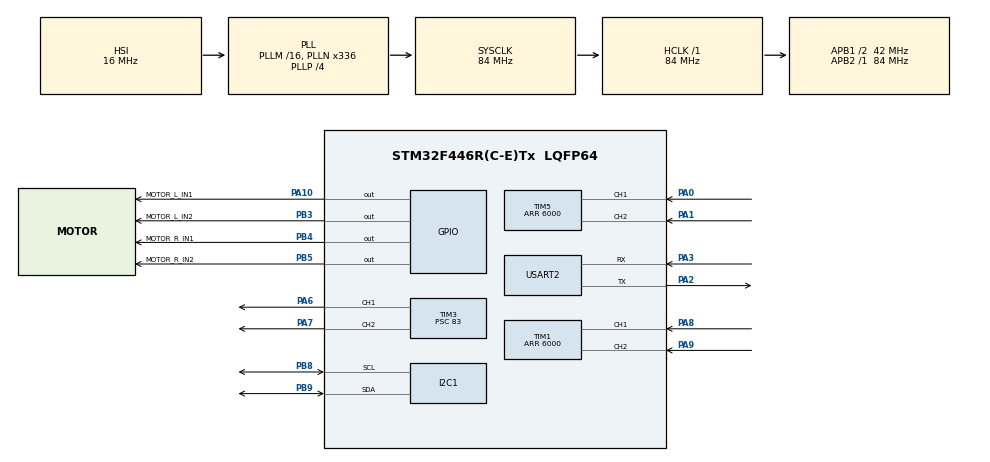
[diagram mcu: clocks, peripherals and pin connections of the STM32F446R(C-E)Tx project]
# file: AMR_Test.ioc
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Dma.Request0=USART2_RX
Dma.Request1=USART2_TX
Dma.USART2_RX.0.Direction=DMA_PERIPH_TO_MEMORY
Dma.USART2_RX.0.FIFOMode=DMA_FIFOMODE_DISABLE
Dma.USART2_RX.0.Instance=DMA1_Stream5
Dma.USART2_RX.0.MemDataAlignment=DMA_MDATAALIGN_BYTE
Dma.USART2_RX.0.MemInc=DMA_MINC_ENABLE
Dma.USART2_RX.0.Mode=DMA_CIRCULAR
Dma.USART2_RX.0.PeriphDataAlignment=DMA_PDATAALIGN_BYTE
Dma.USART2_RX.0.PeriphInc=DMA_PINC_DISABLE
Dma.USART2_RX.0.Priority=DMA_PRIORITY_VERY_HIGH
Dma.USART2_TX.1.Direction=DMA_MEMORY_TO_PERIPH
Dma.USART2_TX.1.FIFOMode=DMA_FIFOMODE_DISABLE
Dma.USART2_TX.1.Instance=DMA1_Stream6
Dma.USART2_TX.1.MemDataAlignment=DMA_MDATAALIGN_BYTE
Dma.USART2_TX.1.MemInc=DMA_MINC_ENABLE
Dma.USART2_TX.1.Mode=DMA_NORMAL
Dma.USART2_TX.1.PeriphDataAlignment=DMA_PDATAALIGN_BYTE
Dma.USART2_TX.1.PeriphInc=DMA_PINC_DISABLE
Dma.USART2_TX.1.Priority=DMA_PRIORITY_VERY_HIGH
FREERTOS.Tasks01=defaultTask,24,128,StartDefaultTask,Default,NULL,Dynamic,NULL,NULL
FREERTOS.configTOTAL_HEAP_SIZE=24576
FREERTOS.configUSE_NEWLIB_REENTRANT=1
I2C1.I2C_Mode=I2C_Fast
Mcu.Family=STM32F4
Mcu.Name=STM32F446R(C-E)Tx
Mcu.Package=LQFP64
NVIC.DMA1_Stream5_IRQn=true\:5\:0\:false\:false\:true\:true\:false\:true\:true
NVIC.DMA1_Stream6_IRQn=true\:5\:0\:false\:false\:true\:true\:false\:true\:true
NVIC.PriorityGroup=NVIC_PRIORITYGROUP_4
NVIC.TIM6_DAC_IRQn=true\:15\:0\:false\:false\:true\:false\:false\:true\:true
NVIC.TimeBase=TIM6_DAC_IRQn
NVIC.TimeBaseIP=TIM6
NVIC.USART2_IRQn=true\:5\:0\:false\:false\:true\:true\:false\:true\:true
PA0-WKUP.Signal=S_TIM5_CH1
PA1.Signal=S_TIM5_CH2
PA10.GPIO_Label=MOTOR_L_IN1
PA10.Signal=GPIO_Output
PA2.Mode=Asynchronous
PA2.Signal=USART2_TX
PA3.Mode=Asynchronous
PA3.Signal=USART2_RX
PA6.Signal=S_TIM3_CH1
PA7.Signal=S_TIM3_CH2
PA8.Signal=S_TIM1_CH1
PA9.Signal=S_TIM1_CH2
PB3.GPIO_Label=MOTOR_L_IN2
PB3.Signal=GPIO_Output
PB4.GPIO_Label=MOTOR_R_IN1
PB4.Signal=GPIO_Output
PB5.GPIO_Label=MOTOR_R_IN2
PB5.Signal=GPIO_Output
PB8.Mode=I2C
PB8.Signal=I2C1_SCL
PB9.Mode=I2C
PB9.Signal=I2C1_SDA
ProjectManager.HeapSize=0x200
ProjectManager.StackSize=0x400
ProjectManager.TargetToolchain=STM32CubeIDE
RCC.AHBFreq_Value=84000000
RCC.APB1CLKDivider=RCC_HCLK_DIV2
RCC.APB1Freq_Value=42000000
RCC.APB1TimFreq_Value=84000000
RCC.APB2Freq_Value=84000000
RCC.APB2TimFreq_Value=84000000
RCC.CortexFreq_Value=84000000
RCC.FLatency-AdvancedSettings=FLASH_LATENCY_2
RCC.HCLKFreq_Value=84000000
RCC.HSE_VALUE=8000000
RCC.HSI_VALUE=16000000
RCC.LSE_VALUE=32768
RCC.PLLN=336
RCC.PLLP=RCC_PLLP_DIV4
RCC.SYSCLKFreq_VALUE=84000000
RCC.SYSCLKSource=RCC_SYSCLKSOURCE_PLLCLK
RCC.USBFreq_Value=168000000
RCC.VCOOutputFreq_Value=336000000
SH.S_TIM1_CH1.0=TIM1_CH1,Encoder_Interface
SH.S_TIM1_CH2.0=TIM1_CH2,Encoder_Interface
SH.S_TIM3_CH1.0=TIM3_CH1,PWM Generation1 CH1
SH.S_TIM3_CH2.0=TIM3_CH2,PWM Generation2 CH2
SH.S_TIM5_CH1.0=TIM5_CH1,Encoder_Interface
SH.S_TIM5_CH2.0=TIM5_CH2,Encoder_Interface
TIM1.AutoReloadPreload=TIM_AUTORELOAD_PRELOAD_ENABLE
TIM1.Period=6000
TIM3.AutoReloadPreload=TIM_AUTORELOAD_PRELOAD_ENABLE
TIM3.Channel-PWM\ Generation1\ CH1=TIM_CHANNEL_1
TIM3.Channel-PWM\ Generation2\ CH2=TIM_CHANNEL_2
TIM3.Period=999
TIM3.Prescaler=83
TIM5.AutoReloadPreload=TIM_AUTORELOAD_PRELOAD_ENABLE
TIM5.Period=6000
USART2.VirtualMode=VM_ASYNC
VP_FREERTOS_VS_CMSIS_V2.Mode=CMSIS_V2
VP_SYS_VS_tim6.Mode=TIM6
board=NUCLEO-F446RE

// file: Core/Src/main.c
/* USER CODE BEGIN Header */
/**
  ******************************************************************************
  * @file           : main.c
  * @brief          : Main program body
  ******************************************************************************
  * @attention
  *
  * Copyright (c) 2026 STMicroelectronics.
  * All rights reserved.
  *
  * This software is licensed under terms that can be found in the LICENSE file
  * in the root directory of this software component.
  * If no LICENSE file comes with this software, it is provided AS-IS.
  *
  ******************************************************************************
  */
/* USER CODE END Header */
#include "main.h"
#include "cmsis_os.h"
#include "dma.h"
#include "i2c.h"
#include "tim.h"
#include "usart.h"
#include "gpio.h"

void SystemClock_Config(void);
void MX_FREERTOS_Init(void);

int main(void)
{

  /* MCU Configuration--------------------------------------------------------*/

  /* Reset of all peripherals, Initializes the Flash interface and the Systick. */
  HAL_Init();

  /* Configure the system clock */
  SystemClock_Config();

  /* Initialize all configured peripherals */
  MX_GPIO_Init();
  MX_DMA_Init();
  MX_I2C1_Init();
  MX_TIM1_Init();
  MX_TIM3_Init();
  MX_TIM5_Init();
  MX_USART2_UART_Init();

  /* Init scheduler */
  osKernelInitialize();  /* Call init function for freertos objects (in cmsis_os2.c) */
  MX_FREERTOS_Init();

  /* Start scheduler */
  osKernelStart();

  /* We should never get here as control is now taken by the scheduler */

  /* Infinite loop */
  while (1)
  {

  }
}

void SystemClock_Config(void)
{
  RCC_OscInitTypeDef RCC_OscInitStruct = {0};
  RCC_ClkInitTypeDef RCC_ClkInitStruct = {0};

  /** Configure the main internal regulator output voltage
  */
  __HAL_RCC_PWR_CLK_ENABLE();
  __HAL_PWR_VOLTAGESCALING_CONFIG(PWR_REGULATOR_VOLTAGE_SCALE3);

  /** Initializes the RCC Oscillators according to the specified parameters
  * in the RCC_OscInitTypeDef structure.
  */
  RCC_OscInitStruct.OscillatorType = RCC_OSCILLATORTYPE_HSI;
  RCC_OscInitStruct.HSIState = RCC_HSI_ON;
  RCC_OscInitStruct.HSICalibrationValue = RCC_HSICALIBRATION_DEFAULT;
  RCC_OscInitStruct.PLL.PLLState = RCC_PLL_ON;
  RCC_OscInitStruct.PLL.PLLSource = RCC_PLLSOURCE_HSI;
  RCC_OscInitStruct.PLL.PLLM = 16;
  RCC_OscInitStruct.PLL.PLLN = 336;
  RCC_OscInitStruct.PLL.PLLP = RCC_PLLP_DIV4;
  RCC_OscInitStruct.PLL.PLLQ = 2;
  RCC_OscInitStruct.PLL.PLLR = 2;
  if (HAL_RCC_OscConfig(&RCC_OscInitStruct) != HAL_OK)
  {
    Error_Handler();
  }

  /** Initializes the CPU, AHB and APB buses clocks
  */
  RCC_ClkInitStruct.ClockType = RCC_CLOCKTYPE_HCLK|RCC_CLOCKTYPE_SYSCLK
                              |RCC_CLOCKTYPE_PCLK1|RCC_CLOCKTYPE_PCLK2;
  RCC_ClkInitStruct.SYSCLKSource = RCC_SYSCLKSOURCE_PLLCLK;
  RCC_ClkInitStruct.AHBCLKDivider = RCC_SYSCLK_DIV1;
  RCC_ClkInitStruct.APB1CLKDivider = RCC_HCLK_DIV2;
  RCC_ClkInitStruct.APB2CLKDivider = RCC_HCLK_DIV1;

  if (HAL_RCC_ClockConfig(&RCC_ClkInitStruct, FLASH_LATENCY_2) != HAL_OK)
  {
    Error_Handler();
  }
}

void HAL_TIM_PeriodElapsedCallback(TIM_HandleTypeDef *htim)
{
  if (htim->Instance == TIM6)
  {
    HAL_IncTick();
  }
}

void Error_Handler(void)
{
  __disable_irq();
  while (1)
  {
  }
}

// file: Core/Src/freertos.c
/* USER CODE BEGIN Header */
/**
  ******************************************************************************
  * File Name          : freertos.c
  * Description        : Code for freertos applications
  ******************************************************************************
  * @attention
  *
  * Copyright (c) 2026 STMicroelectronics.
  * All rights reserved.
  *
  * This software is licensed under terms that can be found in the LICENSE file
  * in the root directory of this software component.
  * If no LICENSE file comes with this software, it is provided AS-IS.
  *
  ******************************************************************************
  */
/* USER CODE END Header */

#include "FreeRTOS.h"
#include "task.h"
#include "main.h"
#include "cmsis_os.h"

/* USER CODE BEGIN Includes */
#include "tim.h"    /* htim1/htim5 = wheel encoders, htim3 = motor PWM */
#include "usart.h"  /* huart2 -- shared with ST-Link VCP and the micro-ROS transport */
#include "i2c.h"    /* hi2c1 -- MPU6050 IMU on PB8/PB9 */
#include <math.h>
#include <string.h>

#include <rcl/rcl.h>
#include <rcl/error_handling.h>
#include <rclc/rclc.h>
#include <rclc/executor.h>
#include <uxr/client/transport.h>
#include <rmw_microxrcedds_c/config.h>
#include <rmw_microros/rmw_microros.h>

#include <std_msgs/msg/float32.h>
#include <std_msgs/msg/int32.h>
#include <geometry_msgs/msg/twist.h>
#include <sensor_msgs/msg/imu.h>
#include <rosidl_runtime_c/string_functions.h>
/* USER CODE END Includes */

/* USER CODE BEGIN Variables */
/* Two tasks: defaultTask just brings up the motor/encoder peripherals and
   otherwise idles; microROSTask owns everything ROS2-related. Kept separate
   so a stall on the micro-ROS side (agent unreachable, XRCE-DDS session
   trouble) can't block peripheral bring-up, and vice versa. */
osThreadId_t microROSTaskHandle;
const osThreadAttr_t microROSTask_attributes = {
  .name = "microROSTask",
  /* rcl/rclc + XRCE-DDS serialization call deep into the stack -- this task
     is the most likely place to overflow. configCHECK_FOR_STACK_OVERFLOW is
     on in FreeRTOSConfig.h so an overflow here halts cleanly via
     vApplicationStackOverflowHook() instead of corrupting memory silently. */
  .stack_size = 4096 * 4,
  .priority = (osPriority_t) osPriorityNormal,
};
/* USER CODE END Variables */
/* Definitions for defaultTask */
osThreadId_t defaultTaskHandle;
const osThreadAttr_t defaultTask_attributes = {
  .name = "defaultTask",
  .stack_size = 128 * 4,
  .priority = (osPriority_t) osPriorityNormal,
};

/* USER CODE BEGIN FunctionPrototypes */
void StartMicroROSTask(void *argument);

/* Implemented in Core/Src/dma_transport.c (copied from
   micro_ros_stm32cubemx_utils/extra_sources/microros_transports/) -- wires
   the micro-ROS transport layer to HAL's UART+DMA driver. */
bool cubemx_transport_open(struct uxrCustomTransport * transport);
bool cubemx_transport_close(struct uxrCustomTransport * transport);
size_t cubemx_transport_write(struct uxrCustomTransport* transport, const uint8_t * buf, size_t len, uint8_t * err);
size_t cubemx_transport_read(struct uxrCustomTransport* transport, uint8_t* buf, size_t len, int timeout, uint8_t* err);

/* Implemented in Core/Src/microros_allocators.c -- routes rcl/rclc's dynamic
   allocations to the dedicated heap in custom_memory_manager.c, kept
   separate from FreeRTOS's own heap since RAM is tight on this chip. */
void * microros_allocate(size_t size, void * state);
void microros_deallocate(void * pointer, void * state);
void * microros_reallocate(void * pointer, size_t size, void * state);
void * microros_zero_allocate(size_t number_of_elements, size_t size_of_element, void * state);
/* USER CODE END FunctionPrototypes */

void StartDefaultTask(void *argument);

void MX_FREERTOS_Init(void); /* (MISRA C 2004 rule 8.1) */

void MX_FREERTOS_Init(void) {

  /* Create the thread(s) */
  /* creation of defaultTask */
  defaultTaskHandle = osThreadNew(StartDefaultTask, NULL, &defaultTask_attributes);

  /* USER CODE BEGIN RTOS_THREADS */
  /* add threads, ... */
  microROSTaskHandle = osThreadNew(StartMicroROSTask, NULL, &microROSTask_attributes);
  /* USER CODE END RTOS_THREADS */

}

void StartDefaultTask(void *argument)
{
  /* USER CODE BEGIN StartDefaultTask */
  /* L298N wiring (see the wheel_init() call site in StartMicroROSTask()
     for the full writeup, including the 2026-08-26 rewire/revert history):
       TIM3_CH1 (PA6) = ENA -- right motor speed (PWM, 0..999 = 0..100% duty)
       TIM3_CH2 (PA7) = ENB -- left motor speed (PWM)
       MOTOR_L_IN1/IN2, MOTOR_R_IN1/IN2 (plain GPIO) -- direction.
     ENA/ENB set "how fast", IN1/IN2 set "which way". HAL_TIM_PWM_Start()
     only enables the PWM output pin -- duty stays at whatever the compare
     register holds until something sets it. */
  HAL_TIM_PWM_Start(&htim3, TIM_CHANNEL_1);
  HAL_TIM_PWM_Start(&htim3, TIM_CHANNEL_2);

  /* TIM1/TIM5 are configured (in CubeMX) as hardware Encoder Mode: the timer
     counts quadrature pulses from each wheel encoder directly in hardware,
     no interrupt needed. TIM_CHANNEL_ALL enables both encoder input pins
     (CH1/CH2) on each timer. */
  HAL_TIM_Encoder_Start(&htim1, TIM_CHANNEL_ALL);
  HAL_TIM_Encoder_Start(&htim5, TIM_CHANNEL_ALL);

  /* Boot stopped. Real duty only gets set once cmd_vel_callback() receives a
     command over micro-ROS. Never hardcode a nonzero duty here -- this is
     the one thing that must always hold, since the robot will start moving
     the instant it does. */
  __HAL_TIM_SET_COMPARE(&htim3, TIM_CHANNEL_1, 0);
  __HAL_TIM_SET_COMPARE(&htim3, TIM_CHANNEL_2, 0);
  HAL_GPIO_WritePin(MOTOR_L_IN1_GPIO_Port, MOTOR_L_IN1_Pin, GPIO_PIN_RESET);
  HAL_GPIO_WritePin(MOTOR_L_IN2_GPIO_Port, MOTOR_L_IN2_Pin, GPIO_PIN_RESET);
  HAL_GPIO_WritePin(MOTOR_R_IN1_GPIO_Port, MOTOR_R_IN1_Pin, GPIO_PIN_RESET);
  HAL_GPIO_WritePin(MOTOR_R_IN2_GPIO_Port, MOTOR_R_IN2_Pin, GPIO_PIN_RESET);

  /* Nothing else to do here -- all real work happens in StartMicroROSTask()
     and in interrupt/DMA context (encoders, PWM, UART). */
  /* Infinite loop */
  for(;;)
  {
    osDelay(1);
  }
  /* USER CODE END StartDefaultTask */
}

/* USER CODE BEGIN Application */

/* configCHECK_FOR_STACK_OVERFLOW is on in FreeRTOSConfig.h, which requires
   this hook to exist -- FreeRTOS calls it the moment a task's stack pointer
   runs past its allocated stack. USART2 is shared with micro-ROS traffic so
   there's no spare UART for a debug console here; halting cleanly is the
   best this hook can do. If it fires, attach a debugger, hit Suspend, and
   check which task/PC it stopped at. */
void vApplicationStackOverflowHook(TaskHandle_t xTask, char *pcTaskName)
{
  (void)xTask;
  (void)pcTaskName;
  __disable_irq();
  for (;;) {}
}

/* ==== Robot geometry ======================================================
   Converts cmd_vel's robot-frame command (linear.x m/s, angular.z rad/s)
   into per-wheel targets, and encoder ticks into wheel speed. Measured on
   the chassis -- update both here and in the ROS2-side wheel_odometry_node
   parameters together if the wheels or track change. */
#define WHEEL_TRACK_M           0.24f  /* distance between the two wheel contact patches */
#define WHEEL_RADIUS_M          0.0325f  /* measured wheel radius */
#define WHEEL_CIRCUMFERENCE_M   (2.0f * (float)M_PI * WHEEL_RADIUS_M)

/* GA25-370 gearmotor + quadrature encoder: measured ticks per one wheel
   revolution (turn the wheel exactly 10 turns by hand, divide the raw tick
   delta by 10 -- see encoder/*_raw_ticks topics below). Re-measure if the
   motor/gearbox/encoder disc is ever swapped. */
#define ENCODER_TICKS_PER_REV   1260.0f
#define ENCODER_ARR             6000     /* TIM1/TIM5 auto-reload value (tim.c) -- counter wraps 0..6000..0 */

#define CONTROL_PERIOD_S        0.05f    /* control loop period (s) -- must match the osDelay(50) below */

/* ==== cmd_vel(m/s) -> PWM duty feedforward =================================
   L298N duty range: TIM3 Period=999 (tim.c) is 100%.

   MIN_DUTY=375 is measured, not guessed: with the robot resting on the
   floor (real load, not free-spinning), duty below ~375 doesn't reliably
   turn the wheel at all. That's the real breakaway point for this
   gearbox/load, not a tunable choice -- any cmd_vel magnitude in
   (0, CMD_V_MIN] gets this duty specifically so slow commands still move
   the robot instead of stalling silently.

   MAX_DUTY=900 is the top of the safe range (leaves PID headroom below
   TIM3's 999=100%).

   Confirm the battery line has a fuse -- the L298N itself has no
   overcurrent protection. */
#define MAX_DUTY        950
#define MIN_DUTY     	400
#define CMD_V_MIN       0.005f

#define CMD_V_MAX       0.13f

/* ==== Measured duty -> rps calibration (what the PID should actually chase)
   2026-08-18: after fixing compute_wheel_rps() to use real elapsed time
   instead of an assumed fixed period (see dt_s), re-measuring at both ends
   of the duty range gave results nowhere near target_v/WHEEL_CIRCUMFERENCE_M's
   physics prediction (0.049..2.45 rev/s for CMD_V_MIN..CMD_V_MAX). The
   earlier "MIN_DUTY gives ~1.38" / "MAX_DUTY gives ~2.31" numbers were
   themselves measured before that dt_s fix and were inflated by the same
   periodic-spike artifact it fixed -- not a real regression, just a bad
   ruler. The physics formula assumes this hardware can reach whatever
   speed a commanded m/s implies; in reality the whole MIN_DUTY..MAX_DUTY
   range only ever produces a narrow band of rev/s, so a physics-based
   target is essentially unreachable everywhere and the PID would spend
   all its effort chasing it instead of converging. v_to_target_rps() below
   maps the same v used for v_to_duty() onto *this* measured curve instead,
   so the PID's setpoint actually matches what the duty it's given can
   achieve. 2026-08-19: re-measured again (0.9..1.52) -- re-measure both
   ends (v=CMD_V_MIN and v=CMD_V_MAX, sustained a few seconds each) if the
   wheels, gearbox, or battery situation changes meaningfully. */
#define MIN_DUTY_RPS    0.3f
#define MAX_DUTY_RPS    1.52f

/* ==== Wheel speed PID (encoder feedback) ===================================
   v_to_duty() feedforward gets the wheel moving immediately and past static
   friction; the PID term on top trims for per-motor/gearbox differences so
   both wheels track the same commanded speed. Set ENABLE_WHEEL_PID to 0 to
   fall back to pure feedforward if the loop turns out unstable.

   KP/KI/KD are separate per wheel (LEFT vs RIGHT below) -- the two motors
   don't have to respond the same way to the same duty, so tune them
   independently. Each Wheel instance gets its own copy at wheel_init() time
   (see the wheel_init() calls in StartMicroROSTask()), so changing e.g.
   WHEEL_PID_KP_RIGHT only affects wheel_right. */
#define ENABLE_WHEEL_PID              0  /* TEMP 2026-08-26: off while diagnosing wiring identity/polarity -- restore to 1 once confirmed */

#define WHEEL_PID_KP_LEFT             300.0f  /* duty per (rps error) */
#define WHEEL_PID_KI_LEFT             0.0f  /* duty per (rps error * s) */
#define WHEEL_PID_KD_LEFT             0.0f

#define WHEEL_PID_KP_RIGHT            300.0f
#define WHEEL_PID_KI_RIGHT            0.0f
#define WHEEL_PID_KD_RIGHT            0.0f

/* Clamp applies to Ki*integral (duty units), not to the raw integral -- see
   wheel_pid_step(). Shared: it's derived from the duty range, not from any
   per-wheel tuning. */
#define WHEEL_PID_INTEGRAL_TERM_MAX  ((float)(MAX_DUTY - MIN_DUTY))

/* ==== Left/right tick-sync (keeps the robot driving straight) =============
   Each wheel's own PID above only looks at its own instantaneous speed, so
   both wheels can track their own target correctly on average and still
   drift apart in *position* over time -- any brief mismatch (asymmetric
   motor response, a bit of slip) never gets corrected, it just accumulates
   into the robot curving off to one side.

   This compares actual accumulated ticks (wheel_left.cumulative_ticks -
   wheel_right.cumulative_ticks) against what that difference *should* be
   given the commanded speeds (0 while driving straight, nonzero while
   turning -- see sync_expected_tick_diff in StartMicroROSTask()), and
   nudges each wheel's PID setpoint -- not its feedforward -- to close the
   gap. Start small: too high and this fights the per-wheel PID instead of
   gently correcting drift. */
#define ENABLE_TICK_SYNC     0  /* TEMP 2026-08-26: off while diagnosing wiring identity/polarity -- restore to 1 once confirmed */
#define SYNC_KP              0.002f  /*

target-rps trim per tick of accumulated drift */
#define SYNC_KI              0.05f
#define SYNC_INTEGRAL_MAX    200.0f  /* clamp on the drift integral (tick*s units) */
/* Clamp on the *final* trim (SYNC_KP*error + SYNC_KI*integral combined),
   not just the integral term -- SYNC_KP*error alone is unbounded, and if
   the tick drift ever grows large (e.g. while the per-wheel PID gains are
   still being tuned and one side is genuinely much faster), an unclamped
   P-term can exceed the wheel's own target_rps and flip its *sign* --
   commanding that wheel to run backward instead of just trimming its
   speed. This is a hard ceiling on how much nudge tick-sync is allowed to
   apply, well under any real target_rps, so it can never do that. */
#define SYNC_TRIM_MAX_RPS    0.1f

/**
 * Reads a quadrature encoder timer and returns the wheel's current speed in
 * revolutions per second. Sign matches commanded duty sign directly -- each
 * encoder's A/B wiring is physically oriented for that (2026-08-19), so no
 * software sign flip is needed here.
 *
 * The timer counts up/down in hardware as the wheel turns, but the counter
 * register wraps (0 -> ENCODER_ARR -> 0, or the reverse) rather than
 * accumulating total distance. So each call: reads the counter, diffs
 * against the previous reading, corrects for wraparound (a jump of more
 * than half the counter range in one sample period is a wrap, not a real
 * move that fast), and converts ticks-per-sample into rev/s.
 *
 * dt_s is the *actual* time elapsed since the last call, not an assumed
 * constant -- see the comment on dt_s in wheel_step() for why that matters.
 */
static float compute_wheel_rps(TIM_HandleTypeDef *htim, int32_t *last_count, int32_t *out_delta, float dt_s)
{
  int32_t count = (int32_t)__HAL_TIM_GET_COUNTER(htim);
  int32_t delta = count - *last_count;

  if (delta > (ENCODER_ARR / 2)) {
    delta -= (ENCODER_ARR + 1);
  } else if (delta < -(ENCODER_ARR / 2)) {
    delta += (ENCODER_ARR + 1);
  }

  *last_count = count;
  if (out_delta) *out_delta = delta;

  return ((float)delta / ENCODER_TICKS_PER_REV) / dt_s;
}

/**
 * Drives one L298N channel: two GPIOs set direction, one PWM channel sets
 * speed.
 *
 *   IN1=HIGH, IN2=LOW  -> forward (positive)
 *   IN1=LOW,  IN2=HIGH -> reverse (negative)
 *   IN1=IN2            -> brake/coast (unused here)
 *
 * `duty` carries both sign (direction) and magnitude (0..MAX_DUTY compare
 * value).
 */
static void set_motor(TIM_HandleTypeDef *pwm_tim, uint32_t pwm_channel,
                       GPIO_TypeDef *in1_port, uint16_t in1_pin,
                       GPIO_TypeDef *in2_port, uint16_t in2_pin,
                       int32_t duty)
{
  if (duty >= 0) {
    HAL_GPIO_WritePin(in1_port, in1_pin, GPIO_PIN_SET);
    HAL_GPIO_WritePin(in2_port, in2_pin, GPIO_PIN_RESET);
  } else {
    HAL_GPIO_WritePin(in1_port, in1_pin, GPIO_PIN_RESET);
    HAL_GPIO_WritePin(in2_port, in2_pin, GPIO_PIN_SET);
    duty = -duty;
  }
  __HAL_TIM_SET_COMPARE(pwm_tim, pwm_channel, (uint32_t)duty);
}

/**
 * Converts one wheel's target speed (m/s, signed = direction) into a signed
 * PWM duty (-MAX_DUTY..MAX_DUTY): linearly maps CMD_V_MIN..CMD_V_MAX onto
 * MIN_DUTY..MAX_DUTY, clamped outside that range.
 */
static int32_t v_to_duty(float v)
{
  float mag = v;
  int32_t sign = 1;

  if (mag < 0.0f) { sign = -1; mag = -mag; }
  if (mag <= 0.0f) return 0;

  if (mag <= CMD_V_MIN) return sign * MIN_DUTY;
  if (mag >= CMD_V_MAX) return sign * MAX_DUTY;

  float t = (mag - CMD_V_MIN) / (CMD_V_MAX - CMD_V_MIN); /* 0..1 */
  return sign * (MIN_DUTY + (int32_t)(t * (float)(MAX_DUTY - MIN_DUTY)));
}

/**
 * Companion to v_to_duty(): what rps the wheel actually achieves at the
 * duty v_to_duty(v) picks, per the measured MIN_DUTY_RPS..MAX_DUTY_RPS
 * calibration -- this is what the PID should chase as its setpoint, not
 * v/WHEEL_CIRCUMFERENCE_M (see the calibration comment above). Mirrors
 * v_to_duty()'s clamping/interpolation exactly so the feedforward duty and
 * the PID's target always describe the same point on the curve.
 */
static float v_to_target_rps(float v)
{
  float mag = v;
  int32_t sign = 1;

  if (mag < 0.0f) { sign = -1; mag = -mag; }
  if (mag <= 0.0f) return 0.0f;

  if (mag <= CMD_V_MIN) return (float)sign * MIN_DUTY_RPS;
  if (mag >= CMD_V_MAX) return (float)sign * MAX_DUTY_RPS;

  float t = (mag - CMD_V_MIN) / (CMD_V_MAX - CMD_V_MIN); /* 0..1 */
  return (float)sign * (MIN_DUTY_RPS + t * (MAX_DUTY_RPS - MIN_DUTY_RPS));
}

/**
 * One PID step for a single wheel: target/measured rps in, duty correction
 * out. kp/ki/kd are that wheel's own gains (see Wheel.kp/ki/kd) so left and
 * right can be tuned independently. integral/prev_error are the caller's
 * per-wheel state, updated in place for the next call.
 *
 * Anti-windup clamps ki*integral (duty units) rather than the raw integral
 * (rps*s units) -- clamping the raw integral would need a completely
 * different-magnitude limit since ki scales it up. When the clamp engages,
 * the raw integral is backed out to match, otherwise it keeps growing
 * silently underneath the clamped output and takes a long time to unwind
 * once the error's sign flips (e.g. commanding 0 wouldn't stop the wheel
 * promptly). Skipped entirely if ki is 0 (pure P/D tuning) to avoid
 * dividing by zero.
 */
static float wheel_pid_step(float target_rps, float measured_rps,
                             float kp, float ki, float kd,
                             float *integral, float *prev_error, float dt_s)
{
  float error = target_rps - measured_rps;

  *integral += error * dt_s;

  float integral_term = ki * (*integral);
  if (ki != 0.0f) {
    if (integral_term > WHEEL_PID_INTEGRAL_TERM_MAX) {
      integral_term = WHEEL_PID_INTEGRAL_TERM_MAX;
      *integral = integral_term / ki;
    } else if (integral_term < -WHEEL_PID_INTEGRAL_TERM_MAX) {
      integral_term = -WHEEL_PID_INTEGRAL_TERM_MAX;
      *integral = integral_term / ki;
    }
  }

  float derivative = (error - *prev_error) / dt_s;
  *prev_error = error;

  return kp * error + integral_term + kd * derivative;
}

/* ==== Per-wheel state (fully independent left/right) =======================
   Everything one wheel needs -- which encoder timer, which PWM channel,
   which direction GPIOs, and its own running PID/encoder state -- lives in
   a single struct instance. wheel_step()/wheel_stop() are the only places
   that touch a Wheel, and both take the instance as a parameter, so there
   is no possibility of left's target ending up paired with right's encoder
   or motor pins (or vice versa) anywhere else in this file -- that class of
   bug (which is what caused the left/right "seesaw" earlier) can't happen
   by construction now: fix the wiring once in wheel_left/wheel_right's
   initialization below, and every other line just says "the wheel" without
   caring which physical side it is. */
typedef struct {
  /* Hardware identity -- set once at init below, read-only afterward. */
  TIM_HandleTypeDef *encoder_tim;
  TIM_HandleTypeDef  *pwm_tim;
  uint32_t            pwm_channel;
  GPIO_TypeDef        *in1_port;
  uint16_t             in1_pin;
  GPIO_TypeDef        *in2_port;
  uint16_t             in2_pin;
  float                kp;   /* this wheel's own PID gains -- see WHEEL_PID_K*_LEFT/RIGHT */
  float                ki;
  float                kd;

  /* Running state -- updated once per control period by wheel_step(). */
  int32_t  last_count;
  int32_t  cumulative_ticks; /* raw ticks, no gear-ratio assumption -- for verifying ENCODER_TICKS_PER_REV */
  float    measured_rps;
  float    target_v;         /* written by cmd_vel_callback() */
  float    pid_integral;
  float    pid_prev_error;
} Wheel;

static Wheel wheel_left;
static Wheel wheel_right;

/* Tick-sync running state -- see ENABLE_TICK_SYNC. sync_expected_tick_diff
   is the integral of the *commanded* (target_rps_left - target_rps_right),
   i.e. what wheel_left.cumulative_ticks - wheel_right.cumulative_ticks
   ought to be right now if both wheels tracked their targets perfectly.
   Reset alongside the wheels on disconnect so a stale drift estimate from
   before a reconnect doesn't bias the first few seconds after. */
static float sync_expected_tick_diff = 0.0f;
static float sync_integral = 0.0f;

/**
 * One-time setup for a wheel: binds it to its physical hardware and zeroes
 * its running state. Call once per wheel at task start, before the
 * connection-cycle loop -- the hardware identity never changes across
 * reconnects, only the ROS2 objects do.
 */
static void wheel_init(Wheel *w,
                        TIM_HandleTypeDef *encoder_tim,
                        TIM_HandleTypeDef *pwm_tim, uint32_t pwm_channel,
                        GPIO_TypeDef *in1_port, uint16_t in1_pin,
                        GPIO_TypeDef *in2_port, uint16_t in2_pin,
                        float kp, float ki, float kd)
{
  w->encoder_tim = encoder_tim;
  w->pwm_tim = pwm_tim;
  w->pwm_channel = pwm_channel;
  w->in1_port = in1_port;
  w->in1_pin = in1_pin;
  w->in2_port = in2_port;
  w->in2_pin = in2_pin;
  w->kp = kp;
  w->ki = ki;
  w->kd = kd;

  w->last_count = (int32_t)__HAL_TIM_GET_COUNTER(encoder_tim);
  w->cumulative_ticks = 0;
  w->measured_rps = 0.0f;
  w->target_v = 0.0f;
  w->pid_integral = 0.0f;
  w->pid_prev_error = 0.0f;
}

/**
 * One control-period step for a single wheel: reads its encoder, runs
 * feedforward (+PID if enabled) against its own target_v, and drives its
 * own motor pins. Called once per wheel per loop iteration -- see the
 * bottom of the file for why that's safe from cross-wheel mixups.
 *
 * dt_s is the *measured* time (via HAL_GetTick()) since this wheel was last
 * stepped, not the nominal CONTROL_PERIOD_S. The loop is nominally 20Hz
 * (osDelay(50)), but every ~40th iteration also does an agent ping that can
 * block up to 100ms, and rclc_executor_spin_some() itself can take up to
 * 10ms -- if compute_wheel_rps() divided by a fixed 0.05s regardless, any
 * iteration that actually took longer would make that sample's rps look
 * like a brief speed spike (more ticks really did accumulate, just over
 * more real time than assumed), even though nothing physically changed.
 * Using the real elapsed time removes that artifact.
 *
 * rps_trim is the tick-sync correction from the main loop (see
 * ENABLE_TICK_SYNC) -- added to the PID's target only, so it nudges this
 * wheel toward/away from its partner without changing the feedforward
 * baseline v_to_duty() computes from the actual commanded target_v.
 */
static void wheel_step(Wheel *w, float dt_s, float rps_trim)
{
  int32_t delta = 0;
  float rps = compute_wheel_rps(w->encoder_tim, &w->last_count, &delta, dt_s);
  w->measured_rps = rps;
  w->cumulative_ticks += delta;

  /* A target of exactly 0 bypasses the PID and forces duty to 0 outright --
     whatever the PID's accumulated state, "send 0 and the robot stops" must
     always hold -- and resets this wheel's integral/prev_error so a future
     move doesn't inherit stale state from being parked. */
  int32_t duty;
  if (w->target_v == 0.0f) {
    duty = 0;
    w->pid_integral = 0.0f;
    w->pid_prev_error = 0.0f;
  } else {
    float duty_f = (float)v_to_duty(w->target_v);
#if ENABLE_WHEEL_PID
    float target_rps = v_to_target_rps(w->target_v) + rps_trim;
    duty_f += wheel_pid_step(target_rps, w->measured_rps, w->kp, w->ki, w->kd,
                              &w->pid_integral, &w->pid_prev_error, dt_s);
#endif
    duty = (int32_t)duty_f;
    if (duty >  MAX_DUTY) duty =  MAX_DUTY;
    if (duty < -MAX_DUTY) duty = -MAX_DUTY;
  }

  set_motor(w->pwm_tim, w->pwm_channel, w->in1_port, w->in1_pin, w->in2_port, w->in2_pin, duty);
}

/**
 * Forces a wheel to a full stop: zero target, zero PID state, zero duty out
 * to the motor immediately. Used on agent disconnect.
 */
static void wheel_stop(Wheel *w)
{
  w->target_v = 0.0f;
  w->pid_integral = 0.0f;
  w->pid_prev_error = 0.0f;
  set_motor(w->pwm_tim, w->pwm_channel, w->in1_port, w->in1_pin, w->in2_port, w->in2_pin, 0);
}

/* ==== MPU6050 IMU (I2C1, PB8/PB9) ==========================================
 * 6-axis accel+gyro only -- no onboard sensor fusion, so orientation is left
 * unpopulated. sensor_msgs/Imu's own doc comment says to signal that by
 * setting element 0 of orientation_covariance to -1 (done once at message
 * setup in StartMicroROSTask, not here). angular_velocity/linear_acceleration
 * covariances are left at 0 ("unknown") rather than guessing numbers --
 * fill these in with real characterized noise if this ever feeds an EKF. */
#define MPU6050_I2C_ADDR          (0x68 << 1)  /* AD0 tied low */
#define MPU6050_REG_WHO_AM_I      0x75
#define MPU6050_REG_PWR_MGMT_1    0x6B
#define MPU6050_REG_CONFIG        0x1A
#define MPU6050_REG_SMPLRT_DIV    0x19
#define MPU6050_REG_GYRO_CONFIG   0x1B
#define MPU6050_REG_ACCEL_CONFIG  0x1C
#define MPU6050_REG_ACCEL_XOUT_H  0x3B
#define MPU6050_WHO_AM_I_VALUE    0x68
#define MPU6050_I2C_TIMEOUT_MS    10

#define MPU6050_ACCEL_SENS_LSB_PER_G   8192.0f  /* +/-4g full scale (ACCEL_CONFIG=0x08) */
#define MPU6050_GYRO_SENS_LSB_PER_DPS  65.5f    /* +/-500dps full scale (GYRO_CONFIG=0x08) */
#define STANDARD_GRAVITY_MPS2          9.80665f

/**
 * One-time IMU bring-up: confirms the chip answers as an MPU6050 (WHO_AM_I),
 * wakes it from its power-on sleep state, and picks a DLPF/sample-rate/
 * full-scale configuration. Returns false (without touching imu_ready's
 * caller) on any failure -- e.g. the IMU isn't wired up -- so the rest of
 * the robot (motors/encoders/cmd_vel) keeps working with the IMU simply
 * absent, rather than this blocking or crashing startup.
 */
static bool mpu6050_init(I2C_HandleTypeDef *hi2c)
{
  uint8_t who_am_i = 0;
  if (HAL_I2C_Mem_Read(hi2c, MPU6050_I2C_ADDR, MPU6050_REG_WHO_AM_I,
                        I2C_MEMADD_SIZE_8BIT, &who_am_i, 1, MPU6050_I2C_TIMEOUT_MS) != HAL_OK) {
    return false;
  }
  if (who_am_i != MPU6050_WHO_AM_I_VALUE) {
    return false;
  }

  uint8_t pwr_mgmt_1   = 0x01; /* wake up, gyro X as clock reference */
  uint8_t config       = 0x03; /* DLPF: ~44Hz accel / ~42Hz gyro bandwidth */
  uint8_t smplrt_div   = 9;    /* gyro output rate 1kHz / (1+9) = 100Hz internal sample rate */
  uint8_t gyro_config  = 0x08; /* +/-500 dps */
  uint8_t accel_config = 0x08; /* +/-4g */

  if (HAL_I2C_Mem_Write(hi2c, MPU6050_I2C_ADDR, MPU6050_REG_PWR_MGMT_1,
                         I2C_MEMADD_SIZE_8BIT, &pwr_mgmt_1, 1, MPU6050_I2C_TIMEOUT_MS) != HAL_OK) return false;
  if (HAL_I2C_Mem_Write(hi2c, MPU6050_I2C_ADDR, MPU6050_REG_CONFIG,
                         I2C_MEMADD_SIZE_8BIT, &config, 1, MPU6050_I2C_TIMEOUT_MS) != HAL_OK) return false;
  if (HAL_I2C_Mem_Write(hi2c, MPU6050_I2C_ADDR, MPU6050_REG_SMPLRT_DIV,
                         I2C_MEMADD_SIZE_8BIT, &smplrt_div, 1, MPU6050_I2C_TIMEOUT_MS) != HAL_OK) return false;
  if (HAL_I2C_Mem_Write(hi2c, MPU6050_I2C_ADDR, MPU6050_REG_GYRO_CONFIG,
                         I2C_MEMADD_SIZE_8BIT, &gyro_config, 1, MPU6050_I2C_TIMEOUT_MS) != HAL_OK) return false;
  if (HAL_I2C_Mem_Write(hi2c, MPU6050_I2C_ADDR, MPU6050_REG_ACCEL_CONFIG,
                         I2C_MEMADD_SIZE_8BIT, &accel_config, 1, MPU6050_I2C_TIMEOUT_MS) != HAL_OK) return false;

  return true;
}

/**
 * Burst-reads all 14 data registers (accel + temp + gyro) in one I2C
 * transaction and fills in msg's angular_velocity/linear_acceleration.
 * Does not touch header/orientation/covariances -- those are set up once
 * elsewhere since they don't change per-sample.
 */
static bool mpu6050_read(I2C_HandleTypeDef *hi2c, sensor_msgs__msg__Imu *msg)
{
  uint8_t raw[14];
  if (HAL_I2C_Mem_Read(hi2c, MPU6050_I2C_ADDR, MPU6050_REG_ACCEL_XOUT_H,
                        I2C_MEMADD_SIZE_8BIT, raw, sizeof(raw), MPU6050_I2C_TIMEOUT_MS) != HAL_OK) {
    return false;
  }

  int16_t accel_x_raw = (int16_t)((raw[0]  << 8) | raw[1]);
  int16_t accel_y_raw = (int16_t)((raw[2]  << 8) | raw[3]);
  int16_t accel_z_raw = (int16_t)((raw[4]  << 8) | raw[5]);
  /* raw[6..7] = temperature, unused */
  int16_t gyro_x_raw  = (int16_t)((raw[8]  << 8) | raw[9]);
  int16_t gyro_y_raw  = (int16_t)((raw[10] << 8) | raw[11]);
  int16_t gyro_z_raw  = (int16_t)((raw[12] << 8) | raw[13]);

  msg->linear_acceleration.x = ((float)accel_x_raw / MPU6050_ACCEL_SENS_LSB_PER_G) * STANDARD_GRAVITY_MPS2;
  msg->linear_acceleration.y = ((float)accel_y_raw / MPU6050_ACCEL_SENS_LSB_PER_G) * STANDARD_GRAVITY_MPS2;
  msg->linear_acceleration.z = ((float)accel_z_raw / MPU6050_ACCEL_SENS_LSB_PER_G) * STANDARD_GRAVITY_MPS2;

  msg->angular_velocity.x = ((float)gyro_x_raw / MPU6050_GYRO_SENS_LSB_PER_DPS) * ((float)M_PI / 180.0f);
  msg->angular_velocity.y = ((float)gyro_y_raw / MPU6050_GYRO_SENS_LSB_PER_DPS) * ((float)M_PI / 180.0f);
  msg->angular_velocity.z = ((float)gyro_z_raw / MPU6050_GYRO_SENS_LSB_PER_DPS) * ((float)M_PI / 180.0f);

  return true;
}

static bool imu_ready = false;

/**
 * /cmd_vel (geometry_msgs/Twist) subscription callback -- called by the
 * rclc executor whenever a new Twist arrives from the agent.
 *
 * Twist is robot-frame: linear.x = forward speed (m/s), angular.z = turn
 * rate (rad/s, positive = counter-clockwise). A differential-drive robot
 * can't strafe or pivot about an arbitrary point, only set each wheel's own
 * speed, so the robot-frame command is converted to two wheel targets:
 *
 *   v_left  = linear.x - angular.z * (track/2)
 *   v_right = linear.x + angular.z * (track/2)
 *
 * Straight (angular.z=0) drives both wheels equally; turning speeds one
 * wheel up and slows/reverses the other, by an amount proportional to how
 * far each wheel sits from the centerline (track/2).
 */
void cmd_vel_callback(const void * msgin)
{
  const geometry_msgs__msg__Twist * msg = (const geometry_msgs__msg__Twist *)msgin;

  float linear_x  = (float)msg->linear.x;
  float angular_z = (float)msg->angular.z;

  /* angular_z > 0 must always mean CCW (turn left), angular_z < 0 always CW
     (turn right), regardless of linear_x's sign -- a linear_x<=0 sign-flip
     workaround used to live here to match an observed hardware quirk where
     pure rotation/reverse+turn spun opposite to forward+turn for the same
     angular_z, but that flip made nav2's continuously-varying linear_x
     (which dips through 0/negative during ordinary turns, not just true
     reverse) flip direction mid-turn. Removed -- if the underlying
     hardware asymmetry resurfaces, fix it at the source instead of
     patching based on linear_x's instantaneous sign again. */
  /* 2026-09-03: with both wheels' IN1/IN2 now matched to each other (see
     the wheel_init() fix above), a positive linear_x drove the whole robot
     backward -- confirmed by the user, both wheels agreed with each other,
     just in the wrong direction. Negating only the linear_x contribution
     here (not angular_z) flips "forward" to match what the user means by
     it, without touching set_motor()/the encoder sign invariant (duty and
     encoder still agree, see compute_wheel_rps()'s doc comment) and
     without assuming anything about angular_z's CCW/CW sense, which
     hasn't been verified backward the same way -- if pure rotation also
     turns out reversed, fix that separately once confirmed instead of
     guessing it's the same bug. */
  float v_left  = -linear_x - angular_z * (WHEEL_TRACK_M / 2.0f);
  float v_right = -linear_x + angular_z * (WHEEL_TRACK_M / 2.0f);

  /* 2026-09-03: upstream (nav2 -> amr_cmd_vel_scaler on the Pi) can hand us
     linear_x well past CMD_V_MAX -- when both v_left/v_right land above
     CMD_V_MAX, v_to_duty() clamps *each* independently to the same
     MAX_DUTY, silently erasing whatever left/right difference angular_z
     added (turning while driving stopped showing up as any real encoder
     difference). Rather than rely on the Pi-side node also being fixed
     and redeployed, scale both wheels down together, proportionally,
     whenever the larger-magnitude one would exceed CMD_V_MAX -- this
     preserves the v_left/v_right *ratio* (so the turn shape survives)
     instead of two independent per-wheel clamps flattening it. v_to_duty()
     keeps its own per-wheel clamp too, as a last-resort safety net. */
  float max_mag = fmaxf(fabsf(v_left), fabsf(v_right));
  if (max_mag > CMD_V_MAX) {
    float scale = CMD_V_MAX / max_mag;
    v_left  *= scale;
    v_right *= scale;
  }

  wheel_left.target_v  = v_left;
  wheel_right.target_v = v_right;
}

/**
 * micro-ROS task: brings up the ROS2 client stack on the UART transport,
 * creates a node with 5 publishers + 1 subscriber, then loops reading
 * encoders/IMU and servicing ROS2 traffic.
 *
 * The outer for(;;) is a "connection cycle": wait for the agent, create
 * node/publishers/subscription/executor, run the normal work loop (publish
 * encoder data + handle cmd_vel) until a periodic ping shows the agent is
 * gone, tear everything down, and retry from the top. Restarting the agent
 * doesn't require resetting the board.
 */
void StartMicroROSTask(void *argument)
{
  /* Tell the rmw layer how to move bytes: over huart2 (shared with the
     ST-Link virtual COM port), using the open/close/write/read functions in
     dma_transport.c. Everything above this (rcl, rclc) is unaware it's
     using UART instead of a real network. One-time setup, not repeated per
     reconnect. */
  rmw_uros_set_custom_transport(
    true,
    (void *) &huart2,
    cubemx_transport_open,
    cubemx_transport_close,
    cubemx_transport_write,
    cubemx_transport_read);

  /* Route rcutils's default allocator to the FreeRTOS-backed one so every
     ROS2 allocation comes from the dedicated micro-ROS heap in
     custom_memory_manager.c instead of newlib malloc/free, keeping it out
     of FreeRTOS's own heap. Also one-time setup. */
  rcl_allocator_t freeRTOS_allocator = rcutils_get_zero_initialized_allocator();
  freeRTOS_allocator.allocate = microros_allocate;
  freeRTOS_allocator.deallocate = microros_deallocate;
  freeRTOS_allocator.reallocate = microros_reallocate;
  freeRTOS_allocator.zero_allocate = microros_zero_allocate;

  if (!rcutils_set_default_allocator(&freeRTOS_allocator)) {
    Error_Handler();
  }

  /* ==== Wiring -- THE ONLY PLACE physical left/right identity is decided.
     Everything else in this file just says "the wheel" and works off
     whichever Wheel instance it's given:
       left  = ENB(TIM3_CH2/PA7) + IN3/IN4(MOTOR_L_IN1/IN2, PA10/PB3)
               + encoder on A0/A1 (PA0/PA1 = htim5)
       right = ENA(TIM3_CH1/PA6) + the other IN pair (MOTOR_R_IN1/IN2, PB4/PB5)
               + encoder on D7/D8 (PA8/PA9 = htim1)
     (2026-08-26: the user rewired ENA/ENB and the right motor's IN1/IN2 by
     hand while chasing the forward/reverse direction bug, and this file's
     wheel_init() args were changed to match -- but that produced a
     left/right identity mismatch between each wheel's motor and its
     encoder [PID chasing one wheel's target while reading the other
     wheel's encoder], with runaway-looking rps values as the symptom.
     Reverted to this original, long-confirmed-working mapping since the
     incremental fixes on top of the rewire weren't converging. If the
     physical rewire is still in place on the board, that mismatch needs
     to be resolved by re-checking the actual wiring against this comment,
     not by patching wheel_init() again.)
     If a wheel or its encoder is ever replaced, re-check by spinning it
     forward by hand and confirming encoder/{left,right}_rps reads
     positive -- if it reads negative, swap that encoder's A/B leads rather
     than adding a software inversion. */
  /* 2026-08-26: today's PWM-channel swap (TIM_CHANNEL_1<->2 between left
     and right, to match a described ENA/ENB rewire) left left/right
     *identity* swapped -- e.g. a target meant only for left also moved
     the wheel read by the right encoder, and vice versa, which also
     explains the runaway-looking rps values seen mid-debugging (each
     wheel's PID was chasing a setpoint while reading the *other* wheel's
     encoder, since the encoder_tim args here were never touched). Fully
     reverted to the pre-2026-08-26 configuration -- both the PWM channel
     and the IN1/IN2 argument order -- since incremental fixes on top of
     the swap weren't converging. This matches the long-standing,
     previously-confirmed-working baseline. */
  /* 2026-08-26: matches the physical wiring as of right now (user confirmed
     not touching it further) -- left ENB=D12/PA6/TIM3_CH1, IN3/IN4=D2/D3;
     right ENA=D11/PA7/TIM3_CH2, IN1/IN2=D4/D5=PB5/PB4 (the *opposite*
     physical order from the MOTOR_R_IN1/IN2 macros, hence the swapped args
     below). TIM3_CH1=PA6 / TIM3_CH2=PA7 confirmed directly from tim.c's
     generated GPIO comments, not assumed.

     2026-09-03: forward cmd_vel was spinning the left wheel in reverse --
     turns out MOTOR_L_IN1/IN2 don't match this wheel's actual physical IN
     wiring either (same class of mismatch as the right wheel above), so
     swapped the args here too. Only the direction-pin order changed --
     encoder_tim (&htim5) and the PWM channel are untouched, so this can't
     reproduce the old PID-chasing-the-wrong-encoder identity bug. If the
     left motor/H-bridge wiring is ever redone, re-verify by spinning it
     forward by hand and confirming encoder/left_rps reads positive *and*
     a forward cmd_vel turns it the same way -- if forward still spins it
     backward, the physical IN1/IN2 pins moved again and this order needs
     re-checking, not another blind swap. */
  wheel_init(&wheel_left,  &htim5, &htim3, TIM_CHANNEL_1,
             MOTOR_L_IN2_GPIO_Port, MOTOR_L_IN2_Pin, MOTOR_L_IN1_GPIO_Port, MOTOR_L_IN1_Pin,
             WHEEL_PID_KP_LEFT, WHEEL_PID_KI_LEFT, WHEEL_PID_KD_LEFT);
  wheel_init(&wheel_right, &htim1, &htim3, TIM_CHANNEL_2,
             MOTOR_R_IN2_GPIO_Port, MOTOR_R_IN2_Pin, MOTOR_R_IN1_GPIO_Port, MOTOR_R_IN1_Pin,
             WHEEL_PID_KP_RIGHT, WHEEL_PID_KI_RIGHT, WHEEL_PID_KD_RIGHT);

  /* IMU is optional from the rest of the robot's point of view -- if it
     doesn't answer on I2C1 (not wired up, wrong address, faulty), imu_ready
     stays false and every connection cycle below just skips publishing it. */
  imu_ready = mpu6050_init(&hi2c1);

  /* Outer "connection cycle" loop -- one (re)connection per iteration. */
  for (;;)
  {
    /* Wait for the agent to answer -- covers the board booting before the
       agent is up, and the agent restarting later. */
    while (rmw_uros_ping_agent(100, 1) != RMW_RET_OK) {
      osDelay(1000);
    }

    rclc_support_t support;
    rcl_allocator_t allocator = rcl_get_default_allocator();
    rcl_node_t node;

    rclc_support_init(&support, 0, NULL, &allocator);
    rclc_node_init_default(&node, "amr_node", "", &support);

    rcl_publisher_t enc_left_publisher;
    rcl_publisher_t enc_right_publisher;
    rcl_publisher_t enc_left_ticks_publisher;
    rcl_publisher_t enc_right_ticks_publisher;
    rcl_publisher_t imu_publisher;
    rcl_publisher_t speed_publisher;

    std_msgs__msg__Float32 enc_left_msg;
    std_msgs__msg__Float32 enc_right_msg;
    std_msgs__msg__Int32 enc_left_ticks_msg;
    std_msgs__msg__Int32 enc_right_ticks_msg;
    std_msgs__msg__Float32 speed_msg;

    sensor_msgs__msg__Imu imu_msg;
    sensor_msgs__msg__Imu__init(&imu_msg);
    rosidl_runtime_c__String__assign(&imu_msg.header.frame_id, "imu_link");
    /* __init() only fills fields with a default declared in the .msg
       (that's why orientation.{x,y,z,w} came out as identity above) -- the
       fixed-size covariance arrays and header.stamp have no such default,
       so __init() leaves them untouched (i.e. whatever was already on the
       stack -- FreeRTOS paints unused task stack with 0xA5, which is
       exactly what showed up when this went unzeroed: header.stamp read as
       0xA5A5A5A5 and every uninitialized covariance slot read as
       -2.4983353906949635e-127, the double that bit pattern decodes to).
       Zero everything explicitly instead of relying on __init(). */
    memset(&imu_msg.header.stamp, 0, sizeof(imu_msg.header.stamp));
    memset(imu_msg.orientation_covariance, 0, sizeof(imu_msg.orientation_covariance));
    memset(imu_msg.angular_velocity_covariance, 0, sizeof(imu_msg.angular_velocity_covariance));
    memset(imu_msg.linear_acceleration_covariance, 0, sizeof(imu_msg.linear_acceleration_covariance));
    /* No orientation estimate from this sensor -- element 0 of
       orientation_covariance = -1 tells subscribers to disregard
       msg.orientation rather than mistake it for a real (identity) reading. */
    imu_msg.orientation_covariance[0] = -1.0;

    rclc_publisher_init_default(
      &enc_left_publisher, &node,
      ROSIDL_GET_MSG_TYPE_SUPPORT(std_msgs, msg, Float32),
      "encoder/left_rps");

    rclc_publisher_init_default(
      &enc_right_publisher, &node,
      ROSIDL_GET_MSG_TYPE_SUPPORT(std_msgs, msg, Float32),
      "encoder/right_rps");

    /* Raw accumulated ticks -- no gear-ratio/PPR assumption baked in, for
       verifying ENCODER_TICKS_PER_REV. */
    rclc_publisher_init_default(
      &enc_left_ticks_publisher, &node,
      ROSIDL_GET_MSG_TYPE_SUPPORT(std_msgs, msg, Int32),
      "encoder/left_raw_ticks");

    rclc_publisher_init_default(
      &enc_right_ticks_publisher, &node,
      ROSIDL_GET_MSG_TYPE_SUPPORT(std_msgs, msg, Int32),
      "encoder/right_raw_ticks");

    rclc_publisher_init_default(
      &imu_publisher, &node,
      ROSIDL_GET_MSG_TYPE_SUPPORT(sensor_msgs, msg, Imu),
      "imu/data_raw");

    /* Robot-frame linear speed in m/s, for consumers that just want a
       single "how fast" number instead of per-wheel rps (e.g. a frontend
       dashboard) -- same (v_left+v_right)/2 average wheel_odometry_node.py
       uses for /odom's twist.linear.x, computed here directly so it's
       available without that node running. */
    rclc_publisher_init_default(
      &speed_publisher, &node,
      ROSIDL_GET_MSG_TYPE_SUPPORT(std_msgs, msg, Float32),
      "speed_mps");

    rcl_subscription_t cmd_vel_subscriber;
    geometry_msgs__msg__Twist cmd_vel_msg;

    rclc_subscription_init_default(
      &cmd_vel_subscriber, &node,
      ROSIDL_GET_MSG_TYPE_SUPPORT(geometry_msgs, msg, Twist),
      "cmd_vel");

    /* 1 handle: just the cmd_vel subscription. ON_NEW_DATA runs the
       callback only when a genuinely new message has arrived. */
    rclc_executor_t executor;
    rclc_executor_init(&executor, &support.context, 1, &allocator);
    rclc_executor_add_subscription(
      &executor, &cmd_vel_subscriber, &cmd_vel_msg,
      &cmd_vel_callback, ON_NEW_DATA);

    /* Inner "normal operation" loop, nominally 20Hz (osDelay(50) => 50ms per
       iteration). Exits (connected = false) once a periodic ping shows the
       agent disappeared. */
    bool connected = true;
    uint32_t loop_count = 0;
    /* Primed as if the last iteration ended 50ms ago, so the first real
       dt_s below comes out close to CONTROL_PERIOD_S instead of ~0. */
    uint32_t last_loop_tick_ms = HAL_GetTick() - 50;

    while (connected)
    {
      uint32_t now_ms = HAL_GetTick();
      float dt_s = (float)(now_ms - last_loop_tick_ms) / 1000.0f;
      last_loop_tick_ms = now_ms;
      if (dt_s <= 0.0f) dt_s = CONTROL_PERIOD_S; /* clock hasn't ticked yet -- fall back rather than divide by ~0 */

      /* Tick-sync: advance the "should be" tick difference by however much
         this cycle's commanded speeds imply, compare against the actual
         accumulated difference (as of the end of the *previous* cycle --
         wheel_step() below is what moves cumulative_ticks forward), and
         turn any gap into a small opposing rps trim for each side. */
      float sync_trim_rps = 0.0f;
#if ENABLE_TICK_SYNC
      float target_rps_left  = v_to_target_rps(wheel_left.target_v);
      float target_rps_right = v_to_target_rps(wheel_right.target_v);
      sync_expected_tick_diff += (target_rps_left - target_rps_right) * ENCODER_TICKS_PER_REV * dt_s;

      float actual_tick_diff = (float)(wheel_left.cumulative_ticks - wheel_right.cumulative_ticks);
      float sync_error = actual_tick_diff - sync_expected_tick_diff;

      sync_integral += sync_error * dt_s;
      if (sync_integral >  SYNC_INTEGRAL_MAX) sync_integral =  SYNC_INTEGRAL_MAX;
      if (sync_integral < -SYNC_INTEGRAL_MAX) sync_integral = -SYNC_INTEGRAL_MAX;

      /* sync_error > 0 means left has out-ticked right relative to what was
         commanded, i.e. left is running ahead -- trim left's target down
         and right's up by the same amount to close the gap symmetrically. */
      sync_trim_rps = SYNC_KP * sync_error + SYNC_KI * sync_integral;
      if (sync_trim_rps >  SYNC_TRIM_MAX_RPS) sync_trim_rps =  SYNC_TRIM_MAX_RPS;
      if (sync_trim_rps < -SYNC_TRIM_MAX_RPS) sync_trim_rps = -SYNC_TRIM_MAX_RPS;
#endif

      wheel_step(&wheel_left,  dt_s, -sync_trim_rps);
      wheel_step(&wheel_right, dt_s,  sync_trim_rps);

      enc_left_msg.data  = wheel_left.measured_rps;
      enc_right_msg.data = wheel_right.measured_rps;
      enc_left_ticks_msg.data  = wheel_left.cumulative_ticks;
      enc_right_ticks_msg.data = wheel_right.cumulative_ticks;

      /* 2026-09-04: this topic reports speed magnitude only, not signed
         velocity -- what sign combination of measured_rps/cmd_vel actually
         means "moving forward from the user's point of view" was guessed
         wrong twice in a row (see git history on this line), so rather than
         guess a third time, sidestep it with fabsf(). If a consumer ever
         needs direction (forward vs reverse), get that from /cmd_vel's own
         linear_x sign instead of trying to recover it from this value. */
      float speed_left_mps  = wheel_left.measured_rps  * WHEEL_CIRCUMFERENCE_M;
      float speed_right_mps = wheel_right.measured_rps * WHEEL_CIRCUMFERENCE_M;
      speed_msg.data = fabsf((speed_left_mps + speed_right_mps) / 2.0f);

      rcl_publish(&enc_left_publisher, &enc_left_msg, NULL);
      rcl_publish(&enc_right_publisher, &enc_right_msg, NULL);
      rcl_publish(&enc_left_ticks_publisher, &enc_left_ticks_msg, NULL);
      rcl_publish(&enc_right_ticks_publisher, &enc_right_ticks_msg, NULL);
      rcl_publish(&speed_publisher, &speed_msg, NULL);

      if (imu_ready && mpu6050_read(&hi2c1, &imu_msg)) {
        rcl_publish(&imu_publisher, &imu_msg, NULL);
      }

      /* Give the executor up to 10ms to check for and handle a new cmd_vel
         message (cmd_vel_callback() runs synchronously from here). */
      rclc_executor_spin_some(&executor, RCL_MS_TO_NS(10));

      /* Ping roughly every 2s (50ms * 40) rather than every loop -- pinging
         every iteration would add latency to the 20Hz publish/control
         cadence. */
      loop_count++;
      if (loop_count % 40 == 0) {
        if (rmw_uros_ping_agent(100, 1) != RMW_RET_OK) {
          connected = false;
        }
      }

      osDelay(50);
    }

    /* Disconnected -- stop the motors first. With no agent there's no way
       to receive a fresh cmd_vel, so the last command must not keep
       running. */
    wheel_stop(&wheel_left);
    wheel_stop(&wheel_right);
    sync_expected_tick_diff = 0.0f;
    sync_integral = 0.0f;

    /* Tear down everything created above, in reverse order. Skipping this
       before looping back to rclc_support_init() would leak the previous
       session's micro-ROS heap usage, shrinking available heap a little on
       every reconnect until allocations start failing. */
    rclc_executor_fini(&executor);
    rcl_subscription_fini(&cmd_vel_subscriber, &node);
    rcl_publisher_fini(&enc_left_publisher, &node);
    rcl_publisher_fini(&enc_right_publisher, &node);
    rcl_publisher_fini(&enc_left_ticks_publisher, &node);
    rcl_publisher_fini(&enc_right_ticks_publisher, &node);
    rcl_publisher_fini(&imu_publisher, &node);
    rcl_publisher_fini(&speed_publisher, &node);
    sensor_msgs__msg__Imu__fini(&imu_msg);
    rcl_node_fini(&node);
    rclc_support_fini(&support);

    /* Back to the top -- wait for the agent again. Reconnects automatically
       whenever it comes back. */
  }
}
/* USER CODE END Application */
